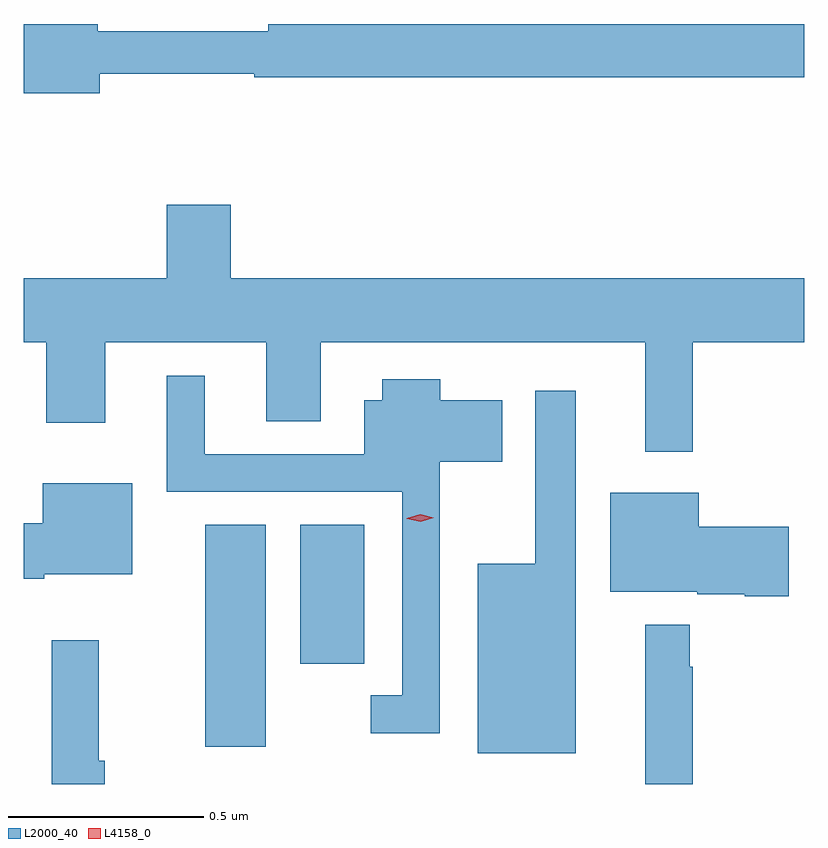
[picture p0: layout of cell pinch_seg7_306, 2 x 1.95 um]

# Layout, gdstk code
import gdstk
lib = gdstk.Library(unit=1e-6, precision=1e-09)
def R(c, l, rs):  # rectangles x0, y0, x1, y1
    for r in rs: c.add(gdstk.rectangle(r[:2], r[2:], *l))
def P(c, l, *ps):  # polygons
    for p in ps: c.add(gdstk.Polygon(p, *l))
L2000_40 = (2000, 40)
L4158_0 = (4158, 0)

pinch_seg7_306 = lib.new_cell('pinch_seg7_306')
R(pinch_seg7_306, L2000_40, [(512.759,1042.203,512.914,1042.772), (513.002,1042.416,513.166,1042.772)])
P(pinch_seg7_306, L2000_40, [(512.488,1043.928),(512.884,1043.928),(512.884,1043.92),(514.294,1043.92),(514.294,1044.056),(512.92,1044.056),(512.92,1044.037),(512.484,1044.037),(512.484,1044.056),(512.294,1044.056),(512.294,1043.878),(512.488,1043.878)],
  [(514.009,1043.24),(514.294,1043.24),(514.294,1043.404),(512.824,1043.404),(512.824,1043.593),(512.66,1043.593),(512.66,1043.404),(512.294,1043.404),(512.294,1043.24),(512.351,1043.24),(512.351,1043.034),(512.503,1043.034),(512.503,1043.24),(512.915,1043.24),(512.915,1043.038),(513.055,1043.038),(513.055,1043.24),(513.887,1043.24),(513.887,1042.959),(514.009,1042.959)],
  [(513.36,1042.934),(513.52,1042.934),(513.52,1043.092),(513.361,1043.092),(513.361,1043.146),(513.212,1043.146),(513.212,1043.092),(513.167,1043.092),(513.167,1042.953),(512.758,1042.953),(512.758,1043.155),(512.66,1043.155),(512.66,1042.857),(513.264,1042.857),(513.264,1042.335),(513.183,1042.335),(513.183,1042.238),(513.36,1042.238)],
  [(513.709,1043.116),(513.605,1043.116),(513.605,1042.672),(513.458,1042.672),(513.458,1042.187),(513.709,1042.187)],
  [(512.346,1042.646),(512.572,1042.646),(512.572,1042.879),(512.342,1042.879),(512.342,1042.776),(512.294,1042.776),(512.294,1042.634),(512.346,1042.634)],
  [(514.255,1042.767),(514.024,1042.767),(514.024,1042.855),(513.797,1042.855),(513.797,1042.601),(514.02,1042.601),(514.02,1042.595),(514.142,1042.595),(514.142,1042.589),(514.255,1042.589)],
  [(514.009,1042.409),(514.001,1042.409),(514.001,1042.516),(513.887,1042.516),(513.887,1042.108),(514.009,1042.108)],
  [(512.501,1042.168),(512.486,1042.168),(512.486,1042.477),(512.365,1042.477),(512.365,1042.108),(512.501,1042.108)])
P(pinch_seg7_306, L4158_0, [(513.311,1042.78),(513.275,1042.788),(513.275,1042.788),(513.275,1042.789),(513.31,1042.8),(513.345,1042.791),(513.345,1042.791),(513.345,1042.79)])

lib.write_gds('pinch_seg7_306.gds')
